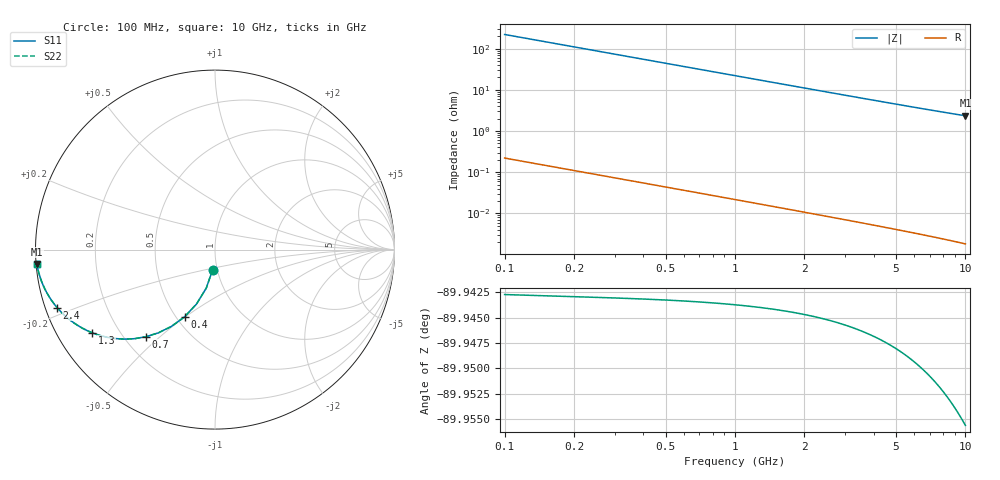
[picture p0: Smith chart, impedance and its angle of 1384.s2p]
# Hz S RI R 50.00
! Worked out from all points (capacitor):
!   100 points, 100 MHz to 10 GHz, reference 50 ohm
!   read as one part in shunt: C = 7.19 pF near 100 MHz
!   lowest |Z| = 2.35 ohm at 10 GHz (marker M1)
!   S11 on the Smith chart (normalised r, x): 100 MHz: 0.95, -0.21; 400 MHz: 0.55, -0.50; 700 MHz: 0.29, -0.45; 1.3 GHz: 0.10, -0.30; 2.4 GHz: 0.03, -0.18; 10 GHz: 0.00, -0.04
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1e8  -0.0127 -0.1114  0.9873 -0.1116  0.9873 -0.1116  -0.0127 -0.1114
2e8  -0.0487 -0.2147  0.9512 -0.215  0.9512 -0.215  -0.0487 -0.2147
3e8  -0.1032 -0.3036  0.8968 -0.304  0.8968 -0.304  -0.1032 -0.3036
4e8  -0.1697 -0.3747  0.8302 -0.3752  0.8302 -0.3752  -0.1697 -0.3747
5e8  -0.242 -0.4275  0.758 -0.4281  0.758 -0.4281  -0.242 -0.4275
6e8  -0.3148 -0.4636  0.6852 -0.4643  0.6852 -0.4643  -0.3148 -0.4636
7e8  -0.3846 -0.4856  0.6153 -0.4865  0.6153 -0.4865  -0.3846 -0.4856
8e8  -0.4494 -0.4964  0.5506 -0.4974  0.5506 -0.4974  -0.4494 -0.4964
1e9  -0.5603 -0.4952  0.4397 -0.4965  0.4397 -0.4965  -0.5603 -0.4952
1.1e9  -0.6065 -0.4873  0.3934 -0.4887  0.3934 -0.4887  -0.6065 -0.4873
1.3e9  -0.6827 -0.4641  0.3173 -0.4657  0.3173 -0.4657  -0.6827 -0.4641
1.5e9  -0.7411 -0.4365  0.2588 -0.4385  0.2588 -0.4385  -0.7411 -0.4365
1.8e9  -0.8047 -0.3948  0.1953 -0.3971  0.1953 -0.3971  -0.8047 -0.3948
2.1e9  -0.8486 -0.3566  0.1514 -0.3593  0.1514 -0.3593  -0.8486 -0.3566
2.4e9  -0.8797 -0.3232  0.1202 -0.3263  0.1202 -0.3263  -0.8797 -0.3232
2.9e9  -0.9143 -0.2775  0.0856 -0.2812  0.0856 -0.2812  -0.9143 -0.2775
3.4e9  -0.9361 -0.2418  0.0638 -0.2462  0.0638 -0.2462  -0.9361 -0.2418
4.2e9  -0.9572 -0.1991  0.0428 -0.2046  0.0428 -0.2046  -0.9572 -0.1991
5.1e9  -0.9706 -0.1651  0.0294 -0.1718  0.0294 -0.1718  -0.9706 -0.1651
6.7e9  -0.9828 -0.125  0.0171 -0.1339  0.0171 -0.1339  -0.9828 -0.125
8.4e9  -0.989 -0.0978  0.0109 -0.109  0.0109 -0.109  -0.989 -0.0978
1e10  -0.9923 -0.0799  0.00759 -0.0933  0.00759 -0.0933  -0.9923 -0.0799
